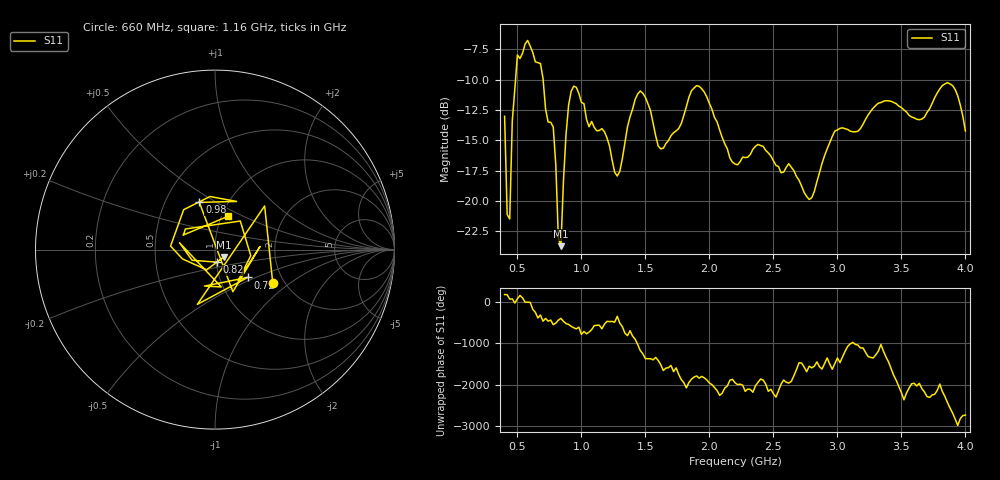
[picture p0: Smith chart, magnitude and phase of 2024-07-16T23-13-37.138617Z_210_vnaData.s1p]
!Created with skrf (http://scikit-rf.org).
# Hz S RI R 50.0
!freq ReS11 ImS11
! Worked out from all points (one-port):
!   181 points, 400 MHz to 4 GHz, reference 50 ohm
!   lowest |S11| = -23.7 dB at 840 MHz (marker M1), VSWR 1.14, Z = 55.2 - j4.53 ohm
!   |S11| at or under -10 dB: start of sweep to 485.5 MHz; 700.9 MHz to end of sweep
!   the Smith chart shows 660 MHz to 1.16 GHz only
!   S11 on the Smith chart (normalised r, x): 660 MHz: 1.74, -0.75; 720 MHz: 1.36, -0.45; 820 MHz: 1.01, -0.14; 980 MHz: 0.74, +0.42; 1.16 GHz: 1.07, +0.41
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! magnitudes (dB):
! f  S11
! 400 MHz  -13.0
! 420 MHz  -21.1
! 440 MHz  -21.5
! 460 MHz  -13.4
! 500 MHz  -8.0
! 660 MHz  -8.6
! 720 MHz  -12.4
! 780 MHz  -13.9
! 820 MHz  -23.0
! 840 MHz  -23.7
! 860 MHz  -18.3
! 900 MHz  -12.1
! 980 MHz  -11.1
! 1.16 GHz  -14.0
! 1.3 GHz  -17.6
! 1.46 GHz  -10.9
! 1.62 GHz  -15.7
! 1.76 GHz  -14.0
! 1.92 GHz  -10.6
! 2.2 GHz  -17.0
! 2.38 GHz  -15.3
! 2.66 GHz  -17.5
! 2.78 GHz  -19.9
! 2.98 GHz  -14.2
! 3.1 GHz  -14.2
! 3.56 GHz  -12.9
! 3.86 GHz  -10.2
! 4 GHz  -14.2
